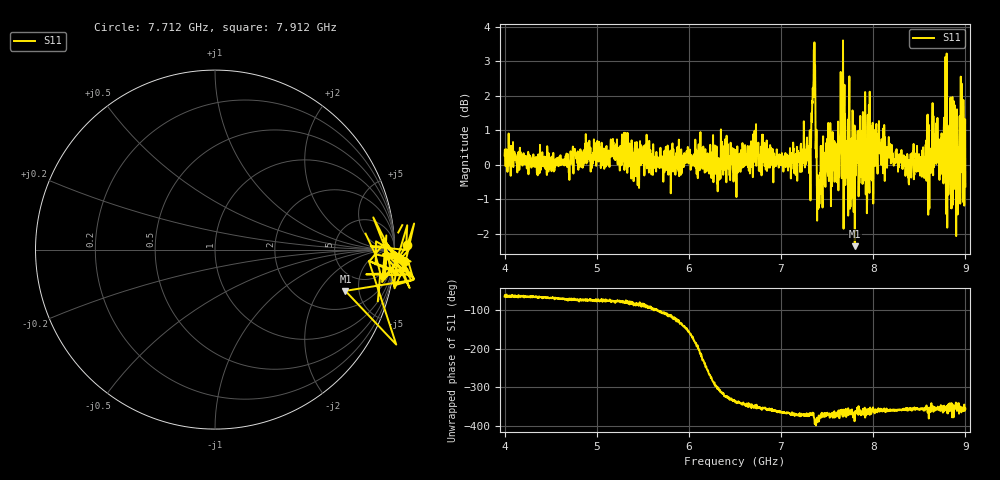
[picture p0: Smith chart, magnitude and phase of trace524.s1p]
! Created with skrf 1.8.0 (http://scikit-rf.org).
# Hz S RI R 50.0
!freq ReS11 ImS11
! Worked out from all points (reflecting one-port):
!   1601 points, 4 GHz to 9 GHz, reference 50 ohm
!   lowest |S11| = -2.4 dB at 7.8 GHz (marker M1), VSWR 7.40, Z = 164 - j180 ohm
!   phase of S11 starts at -64 deg and turns -291 deg over the sweep
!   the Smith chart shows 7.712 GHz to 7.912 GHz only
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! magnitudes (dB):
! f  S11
! 4 GHz  0.3
! 4.625 GHz  0.0
! 5.25 GHz  -0.2
! 5.875 GHz  0.5
! 6.5 GHz  0.1
! 6.725 GHz  0.6
! 7.125 GHz  0.4
! 7.294 GHz  0.2
! 7.347 GHz  2.0
! 7.362 GHz  3.5
! 7.397 GHz  -1.3
! 7.412 GHz  -0.5
! 7.512 GHz  1.2
! 7.606 GHz  -0.5
! 7.669 GHz  -0.3
! 7.703 GHz  0.1
! 7.75 GHz  -0.7
! 7.775 GHz  1.6
! 7.8 GHz  -2.4
! 8.056 GHz  0.5
! 8.375 GHz  -0.2
! 8.612 GHz  0.2
! 8.656 GHz  0.3
! 8.738 GHz  0.3
! 8.775 GHz  1.0
! 8.919 GHz  -0.4
! 8.959 GHz  2.4
! 9 GHz  -0.6
